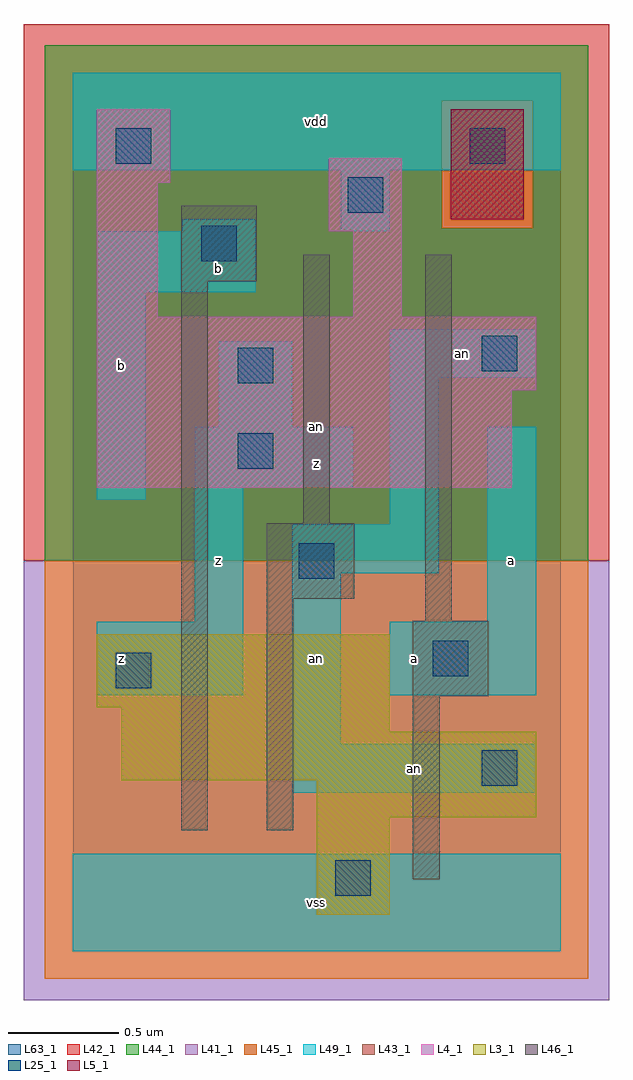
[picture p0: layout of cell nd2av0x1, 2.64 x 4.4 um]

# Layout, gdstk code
import gdstk
lib = gdstk.Library(unit=1e-6, precision=1e-09)
def R(c, l, rs):  # rectangles x0, y0, x1, y1
    for r in rs: c.add(gdstk.rectangle(r[:2], r[2:], *l))
L3_1 = (3, 1)
L4_1 = (4, 1)
L5_1 = (5, 1)
L25_1 = (25, 1)
L41_1 = (41, 1)
L42_1 = (42, 1)
L43_1 = (43, 1)
L44_1 = (44, 1)
L45_1 = (45, 1)
L46_1 = (46, 1)
L49_1 = (49, 1)
L63_1 = (63, 1)

nd2av0x1 = lib.new_cell('nd2av0x1')
R(nd2av0x1, L3_1, [(1.1,0.165,1.43,0.605), (1.1,0.605,2.09,0.77), (0.22,0.77,2.09,0.99), (0.22,0.99,1.43,1.1), (0.11,1.1,1.43,1.43)])
R(nd2av0x1, L4_1, [(0.11,2.09,1.98,2.53), (0.11,2.53,2.09,2.86), (0.11,2.86,0.385,3.465), (1.265,2.86,1.485,3.245), (1.155,3.245,1.485,3.575), (0.11,3.465,0.44,3.795)])
R(nd2av0x1, L5_1, [(1.705,3.3,2.035,3.795)])
R(nd2av0x1, L25_1, [(1.185,0.25,1.345,0.41), (1.845,0.745,2.005,0.905), (0.195,1.185,0.355,1.345), (1.625,1.24,1.785,1.4), (1.02,1.68,1.18,1.84), (0.745,2.175,0.905,2.335), (0.745,2.56,0.905,2.72), (1.845,2.615,2.005,2.775), (0.58,3.11,0.74,3.27), (1.24,3.33,1.4,3.49), (0.195,3.55,0.355,3.71), (1.79,3.55,1.95,3.71)])
R(nd2av0x1, L41_1, [(-0.22,-0.22,2.42,1.76)])
R(nd2av0x1, L42_1, [(-0.22,1.76,2.42,4.18)])
R(nd2av0x1, L43_1, [(1.1,0.165,1.43,0.605), (1.1,0.605,2.09,0.77), (0.22,0.77,2.09,0.99), (0.22,0.99,1.43,1.1), (0.11,1.1,1.43,1.43), (0.11,2.09,1.98,2.53), (0.11,2.53,2.09,2.86), (0.11,2.86,0.385,3.465), (1.265,2.86,1.485,3.245), (1.155,3.245,1.485,3.575), (1.705,3.3,2.035,3.795), (0.11,3.465,0.44,3.795)])
R(nd2av0x1, L44_1, [(-0.125,1.76,2.325,3.26), (-0.125,3.26,1.665,3.835), (2.075,3.26,2.325,3.835), (-0.125,3.835,2.325,4.085)])
R(nd2av0x1, L45_1, [(-0.125,-0.125,2.325,1.76), (1.665,3.26,2.075,3.835)])
R(nd2av0x1, L46_1, [(1.535,0.325,1.655,1.15), (0.49,0.545,0.61,3.02), (0.875,0.545,0.995,1.59), (1.535,1.15,1.875,1.49), (1.59,1.49,1.71,3.14), (0.875,1.59,1.27,1.93), (1.04,1.93,1.16,3.14), (0.49,3.02,0.83,3.36)])
R(nd2av0x1, L49_1, [(0,0,2.2,0.44), (0.99,0.715,2.09,0.935), (0.99,0.935,1.21,1.705), (0.11,1.155,0.77,1.485), (1.43,1.155,2.09,1.485), (0.55,1.485,0.77,2.09), (1.87,1.485,2.09,2.365), (0.99,1.705,1.65,1.925), (1.43,1.925,1.65,2.585), (0.11,2.035,0.33,2.97), (0.55,2.09,1.265,2.365), (0.66,2.365,0.99,2.75), (1.43,2.585,2.09,2.805), (0.11,2.97,0.825,3.245), (0.495,3.245,0.825,3.3), (1.21,3.245,1.43,3.52), (0,3.52,2.2,3.96)])
R(nd2av0x1, L63_1, [(0,0,2.2,3.96)])
nd2av0x1.add(gdstk.Label('an', (1.1,2.365), layer=46, texttype=1))
nd2av0x1.add(gdstk.Label('z', (0.22,1.32), layer=49, texttype=1))
nd2av0x1.add(gdstk.Label('b', (0.22,2.64), layer=49, texttype=1))
nd2av0x1.add(gdstk.Label('z', (0.66,1.76), layer=49, texttype=1))
nd2av0x1.add(gdstk.Label('b', (0.66,3.08), layer=49, texttype=1))
nd2av0x1.add(gdstk.Label('vss', (1.1,0.22), layer=49, texttype=1))
nd2av0x1.add(gdstk.Label('an', (1.1,1.32), layer=49, texttype=1))
nd2av0x1.add(gdstk.Label('a', (1.54,1.32), layer=49, texttype=1))
nd2av0x1.add(gdstk.Label('z', (1.1,2.2), layer=49, texttype=1))
nd2av0x1.add(gdstk.Label('vdd', (1.1,3.74), layer=49, texttype=1))
nd2av0x1.add(gdstk.Label('an', (1.54,0.825), layer=49, texttype=1))
nd2av0x1.add(gdstk.Label('a', (1.98,1.76), layer=49, texttype=1))
nd2av0x1.add(gdstk.Label('an', (1.76,2.695), layer=49, texttype=1))

lib.write_gds('nd2av0x1.gds')
